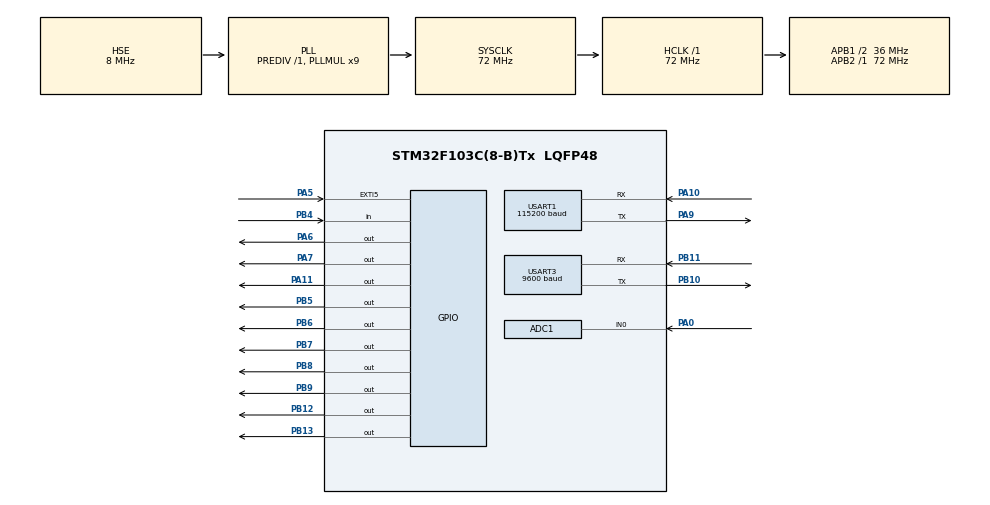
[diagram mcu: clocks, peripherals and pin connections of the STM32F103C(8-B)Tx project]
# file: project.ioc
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ADC1.Channel-0\#ChannelRegularConversion=ADC_CHANNEL_0
ADC1.NbrOfConversionFlag=1
ADC1.Rank-0\#ChannelRegularConversion=1
ADC1.SamplingTime-0\#ChannelRegularConversion=ADC_SAMPLETIME_1CYCLE_5
ADC1.master=1
Mcu.Family=STM32F1
Mcu.Name=STM32F103C(8-B)Tx
Mcu.Package=LQFP48
NVIC.PriorityGroup=NVIC_PRIORITYGROUP_4
NVIC.TIM1_UP_IRQn=true\:0\:0\:false\:false\:true\:true\:true\:true
NVIC.TIM2_IRQn=true\:0\:0\:false\:false\:true\:true\:true\:true
NVIC.USART1_IRQn=true\:0\:0\:false\:false\:true\:true\:true\:true
NVIC.USART3_IRQn=true\:0\:0\:false\:false\:true\:true\:true\:true
PA0-WKUP.Signal=ADCx_IN0
PA10.Mode=Asynchronous
PA10.Signal=USART1_RX
PA11.GPIO_PuPd=GPIO_PULLUP
PA11.Signal=GPIO_Output
PA13.Mode=Serial_Wire
PA13.Signal=SYS_JTMS-SWDIO
PA14.Mode=Serial_Wire
PA14.Signal=SYS_JTCK-SWCLK
PA5.Signal=GPXTI5
PA6.Signal=GPIO_Output
PA7.Signal=GPIO_Output
PA9.Mode=Asynchronous
PA9.Signal=USART1_TX
PB10.Mode=Asynchronous
PB10.Signal=USART3_TX
PB11.Mode=Asynchronous
PB11.Signal=USART3_RX
PB12.GPIO_ModeDefaultOutputPP=GPIO_MODE_OUTPUT_OD
PB12.GPIO_PuPd=GPIO_NOPULL
PB12.Signal=GPIO_Output
PB13.GPIO_ModeDefaultOutputPP=GPIO_MODE_OUTPUT_OD
PB13.GPIO_PuPd=GPIO_NOPULL
PB13.Signal=GPIO_Output
PB4.Signal=GPIO_Input
PB5.Signal=GPIO_Output
PB6.Signal=GPIO_Output
PB7.GPIO_ModeDefaultOutputPP=GPIO_MODE_OUTPUT_OD
PB7.GPIO_PuPd=GPIO_NOPULL
PB7.Signal=GPIO_Output
PB8.GPIO_ModeDefaultOutputPP=GPIO_MODE_OUTPUT_OD
PB8.Signal=GPIO_Output
PB9.GPIO_ModeDefaultOutputPP=GPIO_MODE_OUTPUT_OD
PB9.Signal=GPIO_Output
PD0-OSC_IN.Mode=HSE-External-Oscillator
PD0-OSC_IN.Signal=RCC_OSC_IN
PD1-OSC_OUT.Mode=HSE-External-Oscillator
PD1-OSC_OUT.Signal=RCC_OSC_OUT
ProjectManager.HeapSize=0x200
ProjectManager.StackSize=0x400
ProjectManager.TargetToolchain=MDK-ARM V5.32
RCC.ADCPresc=RCC_ADCPCLK2_DIV6
RCC.AHBFreq_Value=72000000
RCC.APB1CLKDivider=RCC_HCLK_DIV2
RCC.APB1Freq_Value=36000000
RCC.APB1TimFreq_Value=72000000
RCC.APB2Freq_Value=72000000
RCC.APB2TimFreq_Value=72000000
RCC.HCLKFreq_Value=72000000
RCC.PLLMUL=RCC_PLL_MUL9
RCC.PLLSourceVirtual=RCC_PLLSOURCE_HSE
RCC.SYSCLKFreq_VALUE=72000000
RCC.SYSCLKSource=RCC_SYSCLKSOURCE_PLLCLK
RCC.USBFreq_Value=72000000
SH.ADCx_IN0.0=ADC1_IN0,IN0
TIM1.Period=10000-1
TIM1.Prescaler=720-1
TIM2.Period=10000-1
TIM2.Prescaler=7200-1
USART1.BaudRate=115200
USART1.VirtualMode=VM_ASYNC
USART3.BaudRate=9600
USART3.VirtualMode=VM_ASYNC
VP_TIM1_VS_ClockSourceINT.Mode=Internal
VP_TIM2_VS_ClockSourceINT.Mode=Internal
board=custom

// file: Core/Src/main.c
/* USER CODE BEGIN Header */
/**
  ******************************************************************************
  * @file           : main.c
  * @brief          : Main program body
  ******************************************************************************
  * @attention
  *
  * <h2><center>&copy; Copyright (c) 2024 STMicroelectronics.
  * All rights reserved.</center></h2>
  *
  * This software component is licensed by ST under BSD 3-Clause license,
  * the "License"; You may not use this file except in compliance with the
  * License. You may obtain a copy of the License at:
  *                        opensource.org/licenses/BSD-3-Clause
  *
  ******************************************************************************
  */
/* USER CODE END Header */
#include "main.h"
#include "adc.h"
#include "tim.h"
#include "usart.h"
#include "gpio.h"

/* USER CODE BEGIN Includes */
#include "ESP8266.h"
#include "delay.h"
#include "OLED.h"
#include "stdio.h"
#include "stdlib.h"
#include "string.h"

#include "DS18B20.h"
#include "MAX30102.h"
#include "DS1302.h"
#include "MPU6050.h"
#include "GPS.h"
/* USER CODE END Includes */

/* USER CODE BEGIN PTD */
DS1302_Time_t time;
DS1302_Time_t pressure_set_time = {0, 0, 0, 0, 0, 0, 0};
MPU6050_t MPU6050_Data;
char str[200];
float temp_value;
float jd = 119.292511, wd = 26.104894;
uint8_t heart, spo2;
uint8_t pressure, pressure_flag, pressure_time;
int16_t X, Y, Z;
uint8_t tumble, tumble_state, step, step_state;
uint8_t warning_type;
uint8_t mode;
uint16_t temp_max = 99, heart_max = 120, spo2_max = 100;
extern uint8_t time_flag;
extern uint8_t sec_tmep, minute_temp, hour_temp;
/* USER CODE END PTD */

void SystemClock_Config(void);

/* USER CODE BEGIN 0 */

void Buzzer_Set_state(uint8_t state)
{
	HAL_GPIO_WritePin(GPIOA, GPIO_PIN_11, (GPIO_PinState)state);
}

/*
*	功能：控制逻辑
*	参数：无
*	返回值：无
*/
uint8_t pressure_state;
void Ctrl(void)
{
	if (mode != 2)
	{
						//	2												3											4											5
		if ((temp_value > temp_max) || (tumble == 1) || (heart > heart_max) || (spo2 > spo2_max))
		{
			warning_type =(temp_value > temp_max) ? 2 : (tumble == 1) ? 3 : (heart > heart_max) ? 4 : 5;
			Buzzer_Set_state(1);
		}
		else
		{
			warning_type = 0;
			Buzzer_Set_state(0);
		}
	}

}
/*
*	功能：页面显示
*	参数：无
*	返回值：无
*/
void Page(void)
{
	OLED_ShowChinese(1, 1, (mode == 2) ? "阈值" :  "自动");
	if (mode == 0)
	{
//	OLED_ShowSignedNum(1, 1, MPU6050_Data.gx, 4, 8);
//	OLED_ShowSignedNum(1, 16, MPU6050_Data.gy, 4, 8);
//	OLED_ShowSignedNum(1, 32, MPU6050_Data.gz, 4, 8);
//	OLED_ShowChinese(64, 48, "跌倒：");
//	OLED_ShowChinese(105, 48, (tumble == 1) ? "是" :  "否");
//	OLED_ShowChinese(1, 48, "步数：");
//	OLED_ShowNum(40, 48, step, 2, 8);
		sprintf(str, "%02d:%02d:%02d ", time.hour, time.minute, time.second);
		OLED_ShowString(40, 1, str, 8);
        OLED_ShowChinese(1, 16, "跌倒：");
		OLED_ShowChinese(40, 16, (MPU6050_Data.tumble_state == 1) ? "是" :  "否");
		OLED_ShowChinese(1, 48, "步数：");
		OLED_ShowNum(40, 48, MPU6050_Data.step_count, 2, 8);
		OLED_ShowChinese(1, 32, "温度：");
		OLED_ShowFloatNum(40, 32, temp_value, 2, 1, 8);
//		OLED_ShowChinese(1, 16, "经度：");
//		OLED_ShowChinese(1, 32, "纬度：");
//		sprintf(str, "%.6f", jd);
//		OLED_ShowString(40, 16, str, 8);
//		sprintf(str, "%.6f", wd);
//		OLED_ShowString(40, 32, str, 8);
	}
	else if(mode == 1)
	{
		OLED_ShowChinese(1, 32, "心率：");
		sprintf(str, "%d ", heart);
		OLED_ShowString(40, 32, str, 8);

		OLED_ShowChinese(65, 32, "血氧：");
		sprintf(str, "%d  ", spo2);
		OLED_ShowString(105, 32, str, 8);
	}
	else if (mode == 2)
	{
		OLED_ShowChinese(1, 16, "温度：");
		sprintf(str, "%d  ", temp_max);
		OLED_ShowString(40, 16, str, 8);
		OLED_ShowChinese(1, 32, "心率：");
		sprintf(str, "%d ", heart_max);
		OLED_ShowString(40, 32, str, 8);
		OLED_ShowChinese(1, 48, "血氧：");
		sprintf(str, "%d  ", spo2_max);
		OLED_ShowString(40, 48, str, 8);
	}
}

void ADXL345_IS_Tumble(void)
{
	switch(tumble_state)
	{
		case 0:
			if ((X < 200) && (Y < 400) && (Z > 800))
			{
				tumble = 0;
				tumble_state = 1;
			}
			break;
		case 1:
			if ((X > 200) && ((Y < 1000)) && (Z < 800))
			{
				tumble_state = 0;
				tumble = 1;
			}
			break;
	}
}

void ADXL345_IS_Step(void)
{
	switch(step_state)
	{
		case 0:
			if ((X < 200) && (Y < 400) && (Z > 800))
			{
				step_state = 1;
			}
			break;
		case 1:
			if ((X < 0) && (Y > 0) && (Z < 1000))
			{
				step++;
				step_state = 0;
			}
			break;
	}
}
/*
*	功能：发送数据
*	参数：无
*	返回值：无
*/
uint8_t send_time;
void Send_Data(void)
{
	if (send_time < 20)
	{
		send_time++;
		return ;
	}
	send_time = 0;

	sprintf(str,"{\"temp\":%.1f,\"heart\":%d,\"spo2\":%d,\"tumble\":%d,\"step\":%d,\"warning\":%d,\"jd\":%.6f,\"wd\":%.6f}\r\n", temp_value, heart, spo2, tumble, step, warning_type,jd ,wd);
	ESP8266_SendData(str);
}
/* USER CODE END 0 */

int main(void)
{

  /* MCU Configuration--------------------------------------------------------*/

  /* Reset of all peripherals, Initializes the Flash interface and the Systick. */
  HAL_Init();

  /* Configure the system clock */
  SystemClock_Config();

  /* Initialize all configured peripherals */
  MX_GPIO_Init();
  MX_USART1_UART_Init();
  MX_ADC1_Init();
  MX_TIM1_Init();
  MX_TIM2_Init();
  MX_USART3_UART_Init();
  /* USER CODE BEGIN 2 */
  OLED_Init();
  ESP8266_Init();
	max30102_init();
	DS1302_Init();
	MPU6050_Init();
//	DS1302_Write_Time(25, 12, 22, 17, 17, 0, 1);
	GPS_Init();
	HAL_TIM_Base_Start_IT(&htim1);
  /* USER CODE END 2 */

  /* Infinite loop */
  while (1)
  {

    /* USER CODE BEGIN 3 */
//	ADXL345_IS_Tumble();
//	ADXL345_ReadData(&X, &Y, &Z);
//		ADXL345_ReadData(&X, &Y, &Z);

    DS1302_ReadTime(&time);
    temp_value = DS18B20_GetTemp();
		MPU6050_Get_Step(&MPU6050_Data);
		MPU6050_is_Tumble(&MPU6050_Data);
    ESP8266_GetIPD(100);
    Send_Data();
    if(mode == 1)
    {
      MAX30102_GetData(&heart, &spo2);
    }
    GPS_Read(&jd, &wd);
    Ctrl();
    Page();
    OLED_Update();
  }
  /* USER CODE END 3 */
}

void SystemClock_Config(void)
{
  RCC_OscInitTypeDef RCC_OscInitStruct = {0};
  RCC_ClkInitTypeDef RCC_ClkInitStruct = {0};
  RCC_PeriphCLKInitTypeDef PeriphClkInit = {0};

  /** Initializes the RCC Oscillators according to the specified parameters
  * in the RCC_OscInitTypeDef structure.
  */
  RCC_OscInitStruct.OscillatorType = RCC_OSCILLATORTYPE_HSE;
  RCC_OscInitStruct.HSEState = RCC_HSE_ON;
  RCC_OscInitStruct.HSEPredivValue = RCC_HSE_PREDIV_DIV1;
  RCC_OscInitStruct.HSIState = RCC_HSI_ON;
  RCC_OscInitStruct.PLL.PLLState = RCC_PLL_ON;
  RCC_OscInitStruct.PLL.PLLSource = RCC_PLLSOURCE_HSE;
  RCC_OscInitStruct.PLL.PLLMUL = RCC_PLL_MUL9;
  if (HAL_RCC_OscConfig(&RCC_OscInitStruct) != HAL_OK)
  {
    Error_Handler();
  }

  /** Initializes the CPU, AHB and APB buses clocks
  */
  RCC_ClkInitStruct.ClockType = RCC_CLOCKTYPE_HCLK|RCC_CLOCKTYPE_SYSCLK
                              |RCC_CLOCKTYPE_PCLK1|RCC_CLOCKTYPE_PCLK2;
  RCC_ClkInitStruct.SYSCLKSource = RCC_SYSCLKSOURCE_PLLCLK;
  RCC_ClkInitStruct.AHBCLKDivider = RCC_SYSCLK_DIV1;
  RCC_ClkInitStruct.APB1CLKDivider = RCC_HCLK_DIV2;
  RCC_ClkInitStruct.APB2CLKDivider = RCC_HCLK_DIV1;

  if (HAL_RCC_ClockConfig(&RCC_ClkInitStruct, FLASH_LATENCY_2) != HAL_OK)
  {
    Error_Handler();
  }
  PeriphClkInit.PeriphClockSelection = RCC_PERIPHCLK_ADC;
  PeriphClkInit.AdcClockSelection = RCC_ADCPCLK2_DIV6;
  if (HAL_RCCEx_PeriphCLKConfig(&PeriphClkInit) != HAL_OK)
  {
    Error_Handler();
  }
}

void Error_Handler(void)
{
  __disable_irq();
  while (1)
  {
  }
}
